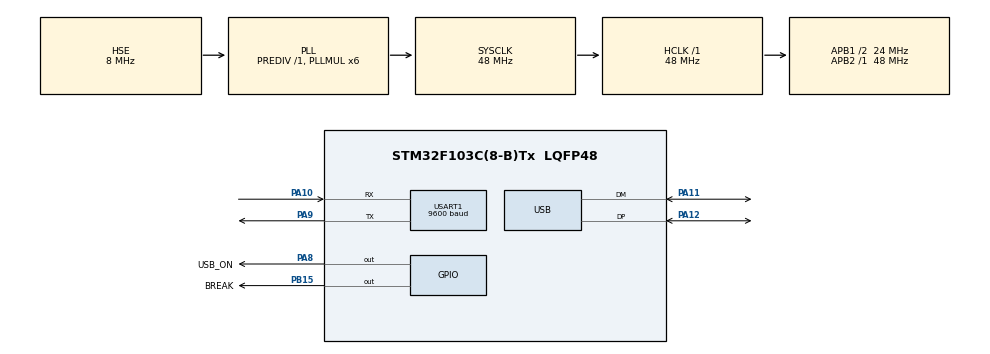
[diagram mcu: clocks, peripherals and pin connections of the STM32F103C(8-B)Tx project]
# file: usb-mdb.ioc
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Mcu.Family=STM32F1
Mcu.Name=STM32F103C(8-B)Tx
Mcu.Package=LQFP48
NVIC.PriorityGroup=NVIC_PRIORITYGROUP_4
NVIC.USART1_IRQn=true\:0\:0\:false\:false\:true\:true
NVIC.USB_LP_CAN1_RX0_IRQn=true\:0\:0\:false\:false\:true\:false
PA10.GPIO_PuPd=GPIO_PULLUP
PA10.Mode=Asynchronous
PA10.Signal=USART1_RX
PA11.Mode=Device
PA11.Signal=USB_DM
PA12.Mode=Device
PA12.Signal=USB_DP
PA13.Mode=Serial_Wire
PA13.Signal=SYS_JTMS-SWDIO
PA14.Mode=Serial_Wire
PA14.Signal=SYS_JTCK-SWCLK
PA8.GPIO_Label=USB_ON
PA8.Signal=GPIO_Output
PA9.Mode=Asynchronous
PA9.Signal=USART1_TX
PB15.GPIO_Label=BREAK
PB15.GPIO_ModeDefaultOutputPP=GPIO_MODE_OUTPUT_OD
PB15.Signal=GPIO_Output
PD0-OSC_IN.Mode=HSE-External-Oscillator
PD0-OSC_IN.Signal=RCC_OSC_IN
PD1-OSC_OUT.Mode=HSE-External-Oscillator
PD1-OSC_OUT.Signal=RCC_OSC_OUT
ProjectManager.HeapSize=0x200
ProjectManager.StackSize=0x400
ProjectManager.TargetToolchain=SW4STM32
RCC.AHBFreq_Value=48000000
RCC.APB1CLKDivider=RCC_HCLK_DIV2
RCC.APB1Freq_Value=24000000
RCC.APB1TimFreq_Value=48000000
RCC.APB2Freq_Value=48000000
RCC.APB2TimFreq_Value=48000000
RCC.HCLKFreq_Value=48000000
RCC.PLLMUL=RCC_PLL_MUL6
RCC.SYSCLKFreq_VALUE=48000000
RCC.SYSCLKSource=RCC_SYSCLKSOURCE_PLLCLK
RCC.USBFreq_Value=48000000
USART1.BaudRate=9600
USART1.VirtualMode=VM_ASYNC
USART1.WordLength=WORDLENGTH_9B
USB_DEVICE.CLASS_NAME_FS=CDC
USB_DEVICE.MANUFACTURER_STRING=ShadowLamer
USB_DEVICE.PRODUCT_STRING_CDC_FS=MDB VMC adapter
USB_DEVICE.VirtualMode=Cdc
USB_DEVICE.VirtualModeFS=Cdc_FS
VP_USB_DEVICE_VS_USB_DEVICE_CDC_FS.Mode=CDC_FS
board=custom

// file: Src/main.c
/**
  ******************************************************************************
  * @file           : main.c
  * @brief          : Main program body
  ******************************************************************************
  * This notice applies to any and all portions of this file
  * that are not between comment pairs USER CODE BEGIN and
  * USER CODE END. Other portions of this file, whether
  * inserted by the user or by software development tools
  * are owned by their respective copyright owners.
  *
  * Copyright (c) 2020 STMicroelectronics International N.V.
  * All rights reserved.
  *
  * Redistribution and use in source and binary forms, with or without
  * modification, are permitted, provided that the following conditions are met:
  *
  * 1. Redistribution of source code must retain the above copyright notice,
  *    this list of conditions and the following disclaimer.
  * 2. Redistributions in binary form must reproduce the above copyright notice,
  *    this list of conditions and the following disclaimer in the documentation
  *    and/or other materials provided with the distribution.
  * 3. Neither the name of STMicroelectronics nor the names of other
  *    contributors to this software may be used to endorse or promote products
  *    derived from this software without specific written permission.
  * 4. This software, including modifications and/or derivative works of this
  *    software, must execute solely and exclusively on microcontroller or
  *    microprocessor devices manufactured by or for STMicroelectronics.
  * 5. Redistribution and use of this software other than as permitted under
  *    this license is void and will automatically terminate your rights under
  *    this license.
  *
  * THIS SOFTWARE IS PROVIDED BY STMICROELECTRONICS AND CONTRIBUTORS "AS IS"
  * AND ANY EXPRESS, IMPLIED OR STATUTORY WARRANTIES, INCLUDING, BUT NOT
  * LIMITED TO, THE IMPLIED WARRANTIES OF MERCHANTABILITY, FITNESS FOR A
  * PARTICULAR PURPOSE AND NON-INFRINGEMENT OF THIRD PARTY INTELLECTUAL PROPERTY
  * RIGHTS ARE DISCLAIMED TO THE FULLEST EXTENT PERMITTED BY LAW. IN NO EVENT
  * SHALL STMICROELECTRONICS OR CONTRIBUTORS BE LIABLE FOR ANY DIRECT, INDIRECT,
  * INCIDENTAL, SPECIAL, EXEMPLARY, OR CONSEQUENTIAL DAMAGES (INCLUDING, BUT NOT
  * LIMITED TO, PROCUREMENT OF SUBSTITUTE GOODS OR SERVICES; LOSS OF USE, DATA,
  * OR PROFITS; OR BUSINESS INTERRUPTION) HOWEVER CAUSED AND ON ANY THEORY OF
  * LIABILITY, WHETHER IN CONTRACT, STRICT LIABILITY, OR TORT (INCLUDING
  * NEGLIGENCE OR OTHERWISE) ARISING IN ANY WAY OUT OF THE USE OF THIS SOFTWARE,
  * EVEN IF ADVISED OF THE POSSIBILITY OF SUCH DAMAGE.
  *
  ******************************************************************************
  */
#include "main.h"
#include "stm32f1xx_hal.h"
#include "usart.h"
#include "usb_device.h"
#include "gpio.h"

/* USER CODE BEGIN Includes */
#include "usbd_cdc_if.h"

#define DATA_SIZE 1000
#define BREAK_DELAY 100
#define SETUP_DELAY 500
/* USER CODE END Includes */

/* USER CODE BEGIN PV */
/* Private variables ---------------------------------------------------------*/
uint16_t mdb_tx_buf[DATA_SIZE];
uint8_t  usb_tx_buf[DATA_SIZE];
uint16_t mdb_rx_buf[1];
uint16_t uart_tx_pointer = 0;
uint32_t usb_tx_ready = 0;
uint32_t mdb_tx_ready = 0;
extern volatile uint16_t break_timer;
extern volatile uint16_t usb_break_timer;

/* USER CODE END PV */

void SystemClock_Config(void);

/* USER CODE BEGIN PFP */
/* Private function prototypes -----------------------------------------------*/
void CDC_Break_Callback() {
  break_timer = BREAK_DELAY;
}

void CDC_Receive_Callback(uint8_t* Buf, uint32_t Len) {
  for (uint16_t i = 0; i < Len; i++) {
    mdb_tx_buf[i] = Buf[i];
  }
  mdb_tx_buf[0] |= 0x0100; //Set mode bit for command;
  mdb_tx_ready = Len;
}

void HAL_UART_RxCpltCallback(UART_HandleTypeDef *huart) {
  if (huart == &huart1) {
    usb_tx_buf[uart_tx_pointer] = mdb_rx_buf[0];
    uart_tx_pointer++;
    if (mdb_rx_buf[0] & 0x0100) {
      usb_tx_ready = uart_tx_pointer;
      uart_tx_pointer = 0;
    }
    HAL_UART_Receive_IT(huart, (uint8_t *) mdb_rx_buf, 1);
  }
}

void HAL_UART_ErrorCallback(UART_HandleTypeDef *huart) {

  __HAL_UART_DISABLE_IT(huart, UART_IT_TC);
  __HAL_UART_DISABLE_IT(huart, UART_IT_TXE);

  /* Check if a receive process is ongoing or not */
  if(huart->gState == HAL_UART_STATE_BUSY_TX_RX)
  {
    huart->gState = HAL_UART_STATE_BUSY_RX;
  }
  else
  {
    huart->gState = HAL_UART_STATE_READY;
  }
//  HAL_UART_RxCpltCallback(huart);
}

/* USER CODE END PFP */

int main(void)
{

  /* MCU Configuration----------------------------------------------------------*/

  /* Reset of all peripherals, Initializes the Flash interface and the Systick. */
  HAL_Init();

  /* Configure the system clock */
  SystemClock_Config();

  /* Initialize all configured peripherals */
  MX_GPIO_Init();
  MX_USB_DEVICE_Init();
  MX_USART1_UART_Init();
  /* USER CODE BEGIN 2 */
  usb_break_timer = SETUP_DELAY;
  /* USER CODE END 2 */

  /* Infinite loop */
  /* USER CODE BEGIN WHILE */
#pragma clang diagnostic push
#pragma clang diagnostic ignored "-Wmissing-noreturn"
  HAL_UART_Receive_IT(&huart1, (uint8_t *) mdb_rx_buf, 1);
  while (1)
  {
    if (mdb_tx_ready > 0 &&
        HAL_UART_GetState(&huart1) != HAL_UART_STATE_BUSY_TX &&
        HAL_UART_GetState(&huart1) != HAL_UART_STATE_BUSY_TX_RX) {
      HAL_UART_Transmit_IT(&huart1, (uint8_t *) mdb_tx_buf, mdb_tx_ready);
      mdb_tx_ready = 0;
    }

    if (usb_tx_ready > 0) {
      CDC_Transmit_FS(usb_tx_buf, usb_tx_ready);
      usb_tx_ready = 0;
    }

    if (break_timer > 0) {
      HAL_GPIO_WritePin(BREAK_GPIO_Port, BREAK_Pin, GPIO_PIN_RESET);
    } else {
      HAL_GPIO_WritePin(BREAK_GPIO_Port, BREAK_Pin, GPIO_PIN_SET);
    }

    if (usb_break_timer > 0) {
      HAL_GPIO_WritePin(USB_ON_GPIO_Port, USB_ON_Pin, GPIO_PIN_RESET);
    } else {
      HAL_GPIO_WritePin(USB_ON_GPIO_Port, USB_ON_Pin, GPIO_PIN_SET);
    }
  /* USER CODE END WHILE */

  /* USER CODE BEGIN 3 */
  }
#pragma clang diagnostic pop
  /* USER CODE END 3 */

}

void SystemClock_Config(void)
{

  RCC_OscInitTypeDef RCC_OscInitStruct;
  RCC_ClkInitTypeDef RCC_ClkInitStruct;
  RCC_PeriphCLKInitTypeDef PeriphClkInit;

    /**Initializes the CPU, AHB and APB busses clocks
    */
  RCC_OscInitStruct.OscillatorType = RCC_OSCILLATORTYPE_HSE;
  RCC_OscInitStruct.HSEState = RCC_HSE_ON;
  RCC_OscInitStruct.HSEPredivValue = RCC_HSE_PREDIV_DIV1;
  RCC_OscInitStruct.HSIState = RCC_HSI_ON;
  RCC_OscInitStruct.PLL.PLLState = RCC_PLL_ON;
  RCC_OscInitStruct.PLL.PLLSource = RCC_PLLSOURCE_HSE;
  RCC_OscInitStruct.PLL.PLLMUL = RCC_PLL_MUL6;
  if (HAL_RCC_OscConfig(&RCC_OscInitStruct) != HAL_OK)
  {
    _Error_Handler(__FILE__, __LINE__);
  }

    /**Initializes the CPU, AHB and APB busses clocks
    */
  RCC_ClkInitStruct.ClockType = RCC_CLOCKTYPE_HCLK|RCC_CLOCKTYPE_SYSCLK
                              |RCC_CLOCKTYPE_PCLK1|RCC_CLOCKTYPE_PCLK2;
  RCC_ClkInitStruct.SYSCLKSource = RCC_SYSCLKSOURCE_PLLCLK;
  RCC_ClkInitStruct.AHBCLKDivider = RCC_SYSCLK_DIV1;
  RCC_ClkInitStruct.APB1CLKDivider = RCC_HCLK_DIV2;
  RCC_ClkInitStruct.APB2CLKDivider = RCC_HCLK_DIV1;

  if (HAL_RCC_ClockConfig(&RCC_ClkInitStruct, FLASH_LATENCY_1) != HAL_OK)
  {
    _Error_Handler(__FILE__, __LINE__);
  }

  PeriphClkInit.PeriphClockSelection = RCC_PERIPHCLK_USB;
  PeriphClkInit.UsbClockSelection = RCC_USBCLKSOURCE_PLL;
  if (HAL_RCCEx_PeriphCLKConfig(&PeriphClkInit) != HAL_OK)
  {
    _Error_Handler(__FILE__, __LINE__);
  }

    /**Configure the Systick interrupt time
    */
  HAL_SYSTICK_Config(HAL_RCC_GetHCLKFreq()/1000);

    /**Configure the Systick
    */
  HAL_SYSTICK_CLKSourceConfig(SYSTICK_CLKSOURCE_HCLK);

  /* SysTick_IRQn interrupt configuration */
  HAL_NVIC_SetPriority(SysTick_IRQn, 0, 0);
}

void _Error_Handler(char *file, int line)
{
  while(1)
  {
  }
}

/************************ (C) COPYRIGHT STMicroelectronics *****END OF FILE****/
